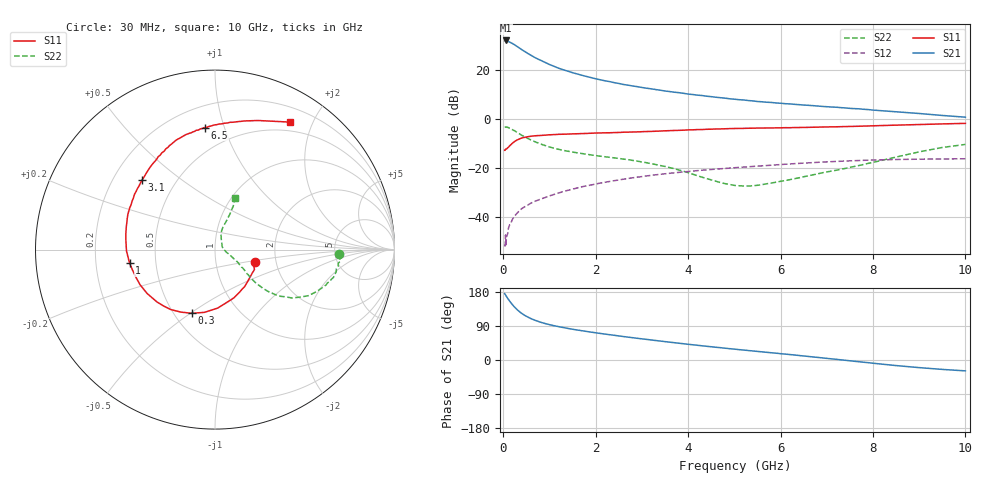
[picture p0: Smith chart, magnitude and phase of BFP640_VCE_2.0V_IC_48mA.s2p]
! Infineon Technologies  Discrete & RF Semiconductors
! BFP640
! VCE =  2.0 V,  IC =  48 mA
! Common Emitter S-Parameters:  Apr 2013
# GHz  S  MA  R  50
!  f  S11  S21  S12  S22
! GHz  MAG  ANG  MAG  ANG  MAG  ANG  MAG  ANG
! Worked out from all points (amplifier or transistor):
!   99 points, 30 MHz to 10 GHz, reference 50 ohm
!   highest |S21| = 32.1 dB at 50 MHz (marker M1)
!   |S21| within 3 dB of that: start of sweep to 345.3 MHz
!   unconditionally stable (mu >= 1): start of sweep to 157.1 MHz; 858.4 MHz to end of sweep
!   at 350 MHz: K = 0.82, MSG = 33.1 dB, |S12| = -37.3 dB
!   at 3.5 GHz: K = 1.21, MAG = 14.1 dB, |S12| = -22.2 dB
!   at 10 GHz: K = 1.17, MAG = 5.9 dB, |S12| = -16.1 dB
!   S11 on the Smith chart (normalised r, x): 30 MHz: 1.56, -0.22; 300 MHz: 0.61, -0.51; 1 GHz: 0.35, -0.07; 3.1 GHz: 0.32, +0.36; 6.5 GHz: 0.34, +0.86; 10 GHz: 0.38, +1.69
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0.03  0.2326 -16.6  39.59 175.1  0.0027 49.2  0.693 -2.0
0.05  0.2462 -26.8  40.22 171.8  0.0044 64.0  0.7013 -5.2
0.1  0.2642 -51.5  38.69 162.2  0.0048 70.8  0.681 -11.9
0.15  0.2929 -71.8  36.81 153.7  0.0071 65.3  0.6493 -17.7
0.2  0.3261 -87.3  34.77 145.8  0.0092 63.5  0.6122 -22.5
0.25  0.3547 -99.6  32.69 139.0  0.0108 63.9  0.5788 -26.4
0.3  0.3778 -110.1  30.38 133.0  0.0122 63.5  0.5388 -29.5
0.4  0.4151 -126.4  26.16 123.0  0.0151 60.1  0.471 -33.9
0.45  0.4252 -132.4  24.51 118.9  0.0162 59.7  0.4466 -35.6
0.6  0.4504 -147.2  20.08 109.2  0.0196 59.4  0.3779 -38.2
0.8  0.4669 -160.8  16.02 100.0  0.0234 60.0  0.3151 -39.1
1  0.482 -171.1  13.04 93.3  0.0275 59.6  0.2727 -38.9
1.3  0.4955 177.3  10.17 85.6  0.0337 59.2  0.2321 -37.2
1.7  0.5102 165.6  7.87 77.3  0.0421 57.8  0.2006 -34.9
2.2  0.529 154.0  6.063 68.4  0.052 55.0  0.1722 -33.1
3.1  0.5619 136.3  4.284 54.4  0.0701 48.3  0.1302 -27.1
3.4  0.5753 131.1  3.901 50.0  0.0756 45.9  0.1139 -25.6
5.1  0.6502 108.2  2.502 27.4  0.1044 31.7  0.0442 13.6
6.5  0.6825 94.8  1.946 10.6  0.1278 20.1  0.0674 58.5
6.7  0.6872 92.7  1.892 8.1  0.1308 18.2  0.0738 61.9
8.5  0.758 71.6  1.418 -14.7  0.1514 0.6  0.1697 68.4
10  0.8241 59.5  1.101 -28.7  0.1568 -10.3  0.3071 68.7
